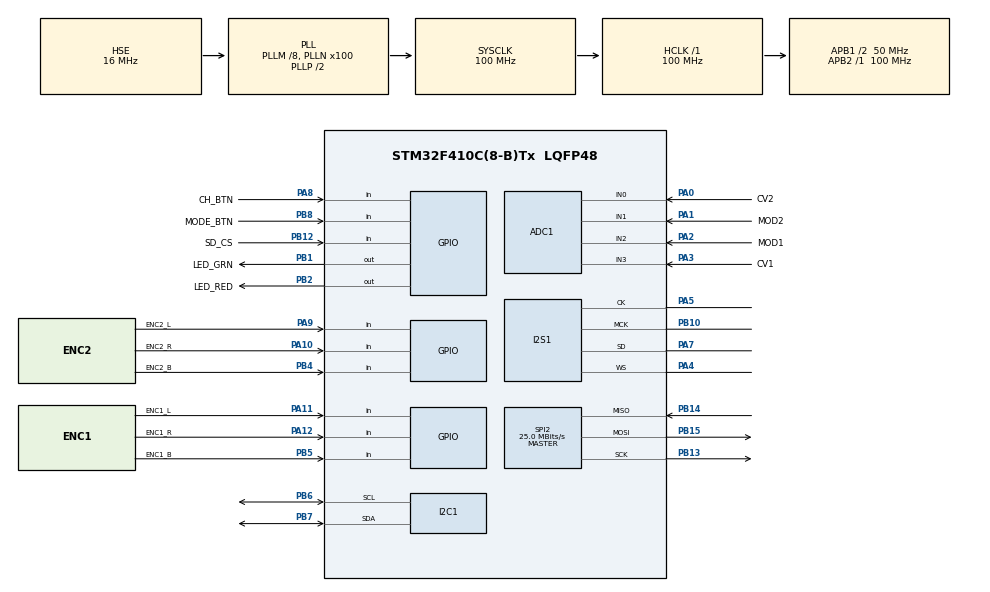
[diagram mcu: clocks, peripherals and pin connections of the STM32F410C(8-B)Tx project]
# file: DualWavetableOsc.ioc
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ADC1.Channel-1\#ChannelRegularConversion=ADC_CHANNEL_0
ADC1.Channel-2\#ChannelRegularConversion=ADC_CHANNEL_1
ADC1.Channel-3\#ChannelRegularConversion=ADC_CHANNEL_2
ADC1.Channel-4\#ChannelRegularConversion=ADC_CHANNEL_3
ADC1.NbrOfConversion=4
ADC1.NbrOfConversionFlag=1
ADC1.Rank-1\#ChannelRegularConversion=1
ADC1.Rank-2\#ChannelRegularConversion=2
ADC1.Rank-3\#ChannelRegularConversion=3
ADC1.Rank-4\#ChannelRegularConversion=4
ADC1.SamplingTime-1\#ChannelRegularConversion=ADC_SAMPLETIME_3CYCLES
ADC1.SamplingTime-2\#ChannelRegularConversion=ADC_SAMPLETIME_3CYCLES
ADC1.SamplingTime-3\#ChannelRegularConversion=ADC_SAMPLETIME_3CYCLES
ADC1.SamplingTime-4\#ChannelRegularConversion=ADC_SAMPLETIME_3CYCLES
ADC1.ScanConvMode=ENABLE
ADC1.master=1
Dma.ADC1.1.Direction=DMA_PERIPH_TO_MEMORY
Dma.ADC1.1.FIFOMode=DMA_FIFOMODE_DISABLE
Dma.ADC1.1.Instance=DMA2_Stream0
Dma.ADC1.1.MemDataAlignment=DMA_MDATAALIGN_WORD
Dma.ADC1.1.MemInc=DMA_MINC_ENABLE
Dma.ADC1.1.Mode=DMA_CIRCULAR
Dma.ADC1.1.PeriphDataAlignment=DMA_PDATAALIGN_WORD
Dma.ADC1.1.PeriphInc=DMA_PINC_DISABLE
Dma.ADC1.1.Priority=DMA_PRIORITY_LOW
Dma.Request0=SPI1_TX
Dma.Request1=ADC1
Dma.SPI1_TX.0.Direction=DMA_MEMORY_TO_PERIPH
Dma.SPI1_TX.0.FIFOMode=DMA_FIFOMODE_DISABLE
Dma.SPI1_TX.0.Instance=DMA2_Stream2
Dma.SPI1_TX.0.MemDataAlignment=DMA_MDATAALIGN_HALFWORD
Dma.SPI1_TX.0.MemInc=DMA_MINC_ENABLE
Dma.SPI1_TX.0.Mode=DMA_CIRCULAR
Dma.SPI1_TX.0.PeriphDataAlignment=DMA_PDATAALIGN_HALFWORD
Dma.SPI1_TX.0.PeriphInc=DMA_PINC_DISABLE
Dma.SPI1_TX.0.Priority=DMA_PRIORITY_VERY_HIGH
I2S1.AudioFreq=I2S_AUDIOFREQ_44K
I2S1.DataFormat=I2S_DATAFORMAT_16B_EXTENDED
I2S1.ErrorAudioFreq=-1.35 %
I2S1.FullDuplexMode=I2S_FULLDUPLEXMODE_DISABLE
I2S1.Instance=SPI$Index
I2S1.RealAudioFreq=43.402 KHz
I2S1.VirtualMode=I2S_MODE_MASTER
Mcu.Family=STM32F4
Mcu.Name=STM32F410C(8-B)Tx
Mcu.Package=LQFP48
NVIC.DMA2_Stream0_IRQn=true\:0\:0\:false\:false\:true\:false\:true\:true
NVIC.DMA2_Stream2_IRQn=true\:0\:0\:false\:false\:true\:false\:true\:true
NVIC.PriorityGroup=NVIC_PRIORITYGROUP_4
PA0-WKUP.GPIO_Label=CV2
PA0-WKUP.Signal=ADCx_IN0
PA1.GPIO_Label=MOD2
PA1.Signal=ADCx_IN1
PA10.GPIO_Label=ENC2_R
PA10.Signal=GPIO_Input
PA11.GPIO_Label=ENC1_L
PA11.Signal=GPIO_Input
PA12.GPIO_Label=ENC1_R
PA12.Signal=GPIO_Input
PA13.Mode=Trace_Asynchronous_SW
PA13.Signal=SYS_JTMS-SWDIO
PA14.Mode=Trace_Asynchronous_SW
PA14.Signal=SYS_JTCK-SWCLK
PA2.GPIO_Label=MOD1
PA2.Signal=ADCx_IN2
PA3.GPIO_Label=CV1
PA3.Signal=ADCx_IN3
PA4.Mode=Half_Duplex_Master
PA4.Signal=I2S1_WS
PA5.Mode=Half_Duplex_Master
PA5.Signal=I2S1_CK
PA7.Mode=Half_Duplex_Master
PA7.Signal=I2S1_SD
PA8.GPIO_Label=CH_BTN
PA8.Signal=GPIO_Input
PA9.GPIO_Label=ENC2_L
PA9.Signal=GPIO_Input
PB1.GPIO_Label=LED_GRN
PB1.Signal=GPIO_Output
PB10.Mode=Master_Clock_Activated
PB10.Signal=I2S1_MCK
PB12.GPIO_Label=SD_CS
PB12.Signal=GPIO_Input
PB13.Mode=Full_Duplex_Master
PB13.Signal=SPI2_SCK
PB14.Mode=Full_Duplex_Master
PB14.Signal=SPI2_MISO
PB15.Mode=Full_Duplex_Master
PB15.Signal=SPI2_MOSI
PB2.GPIO_Label=LED_RED
PB2.Signal=GPIO_Output
PB3.Mode=Trace_Asynchronous_SW
PB3.Signal=SYS_JTDO-SWO
PB4.GPIO_Label=ENC2_B
PB4.Signal=GPIO_Input
PB5.GPIO_Label=ENC1_B
PB5.Signal=GPIO_Input
PB6.Mode=I2C
PB6.Signal=I2C1_SCL
PB7.Mode=I2C
PB7.Signal=I2C1_SDA
PB8.GPIO_Label=MODE_BTN
PB8.Signal=GPIO_Input
PH0\ -\ OSC_IN.Mode=HSE-External-Oscillator
PH0\ -\ OSC_IN.Signal=RCC_OSC_IN
PH1\ -\ OSC_OUT.Mode=HSE-External-Oscillator
PH1\ -\ OSC_OUT.Signal=RCC_OSC_OUT
ProjectManager.HeapSize=0x200
ProjectManager.StackSize=0x400
ProjectManager.TargetToolchain=STM32CubeIDE
RCC.48MHZClocksFreq_Value=50000000
RCC.AHBFreq_Value=100000000
RCC.APB1CLKDivider=RCC_HCLK_DIV2
RCC.APB1Freq_Value=50000000
RCC.APB1TimFreq_Value=100000000
RCC.APB2Freq_Value=100000000
RCC.APB2TimFreq_Value=100000000
RCC.CortexFreq_Value=100000000
RCC.HCLKFreq_Value=100000000
RCC.HSE_VALUE=16000000
RCC.HSI_VALUE=16000000
RCC.LSE_VALUE=32768
RCC.PLLM=8
RCC.PLLN=100
RCC.PLLSourceVirtual=RCC_PLLSOURCE_HSE
RCC.SYSCLKFreq_VALUE=100000000
RCC.SYSCLKSource=RCC_SYSCLKSOURCE_PLLCLK
RCC.VCOOutputFreq_Value=200000000
SH.ADCx_IN0.0=ADC1_IN0,IN0
SH.ADCx_IN1.0=ADC1_IN1,IN1
SH.ADCx_IN2.0=ADC1_IN2,IN2
SH.ADCx_IN3.0=ADC1_IN3,IN3
SPI2.CalculateBaudRate=25.0 MBits/s
SPI2.Direction=SPI_DIRECTION_2LINES
SPI2.Mode=SPI_MODE_MASTER
SPI2.VirtualType=VM_MASTER
board=custom

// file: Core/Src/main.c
/* USER CODE BEGIN Header */
/**
  ******************************************************************************
  * @file           : main.c
  * @brief          : Main program body
  ******************************************************************************
  * @attention
  *
  * Copyright (c) 2024 STMicroelectronics.
  * All rights reserved.
  *
  * This software is licensed under terms that can be found in the LICENSE file
  * in the root directory of this software component.
  * If no LICENSE file comes with this software, it is provided AS-IS.
  *
  ******************************************************************************
  */
/* USER CODE END Header */
#include "main.h"

/* USER CODE BEGIN Includes */
#include <stdio.h>

#include "StatusLEDs.h"
/* USER CODE END Includes */

/* USER CODE BEGIN PD */

#define BUFFER_SIZE 128
#define FLOAT_TO_INT16 32768.0f

/* USER CODE END PD */

ADC_HandleTypeDef hadc1;
DMA_HandleTypeDef hdma_adc1;

I2C_HandleTypeDef hi2c1;

I2S_HandleTypeDef hi2s1;
DMA_HandleTypeDef hdma_spi1_tx;

SPI_HandleTypeDef hspi2;

/* USER CODE BEGIN PV */
int16_t dacData[BUFFER_SIZE];
static volatile int16_t* outBufPtr = &dacData[0];
uint8_t audioDataReadyFlag;

status_led_t leds;

//

/* USER CODE END PV */

void SystemClock_Config(void);
static void MX_GPIO_Init(void);
static void MX_DMA_Init(void);
static void MX_ADC1_Init(void);
static void MX_I2C1_Init(void);
static void MX_I2S1_Init(void);
static void MX_SPI2_Init(void);

/* USER CODE BEGIN 0 */
// I2S callbacks
// transmit is half complete
void HAL_I2S_TxHalfCpltCallback(I2S_HandleTypeDef *hi2s)
{
	outBufPtr = &dacData[0];
	audioDataReadyFlag = 1;
}

// transmit is complete
void HAL_I2S_TxCpltCallback(I2S_HandleTypeDef *hi2s)
{
	outBufPtr = &dacData[BUFFER_SIZE / 2];
	audioDataReadyFlag = 1;
}

// renders the next chunk of the audio buffers to give to the DMA
void processAudioBuffer()
{
	static float leftOut, rightOut;
	for(uint8_t i = 0; i < (BUFFER_SIZE / 2) - 1; i += 2){
		///TODO: logic to determine the value of the samples goes here
		dacData[i] = (int16_t)(leftOut * FLOAT_TO_INT16);
		dacData[i + 1] = (int16_t)(rightOut * FLOAT_TO_INT16);
	}
	audioDataReadyFlag = 0;

}

/* USER CODE END 0 */

int main(void)
{

  /* MCU Configuration--------------------------------------------------------*/

  /* Reset of all peripherals, Initializes the Flash interface and the Systick. */
  HAL_Init();

  /* Configure the system clock */
  SystemClock_Config();

  /* Initialize all configured peripherals */
  MX_GPIO_Init();
  MX_DMA_Init();
  MX_ADC1_Init();
  MX_I2C1_Init();
  MX_I2S1_Init();
  MX_SPI2_Init();
  /* USER CODE BEGIN 2 */
  // start the  I2S DMA stream
  HAL_StatusTypeDef result = HAL_I2S_Transmit_DMA(&hi2s1, (uint16_t*)dacData, BUFFER_SIZE);
  if(result != HAL_OK){
	  status_error(leds);
  }
  status_normal(leds);

  /* USER CODE END 2 */

  /* Infinite loop */
  /* USER CODE BEGIN WHILE */
  uint32_t now = 0;
  uint32_t prev = 0;
  while (1)
  {
	  if(audioDataReadyFlag){
		  processAudioBuffer();
	  }
	  now = HAL_GetTick();
	  if(now - prev > 5)
	  {
		  prev = now;
		  tick_status_led(leds, now);
	  }
    /* USER CODE END WHILE */

  }
}

//---------------------------------------------------------------------------------------------------
void SystemClock_Config(void)
{
  RCC_OscInitTypeDef RCC_OscInitStruct = {0};
  RCC_ClkInitTypeDef RCC_ClkInitStruct = {0};

  /** Configure the main internal regulator output voltage
  */
  __HAL_RCC_PWR_CLK_ENABLE();
  __HAL_PWR_VOLTAGESCALING_CONFIG(PWR_REGULATOR_VOLTAGE_SCALE1);

  /** Initializes the RCC Oscillators according to the specified parameters
  * in the RCC_OscInitTypeDef structure.
  */
  RCC_OscInitStruct.OscillatorType = RCC_OSCILLATORTYPE_HSE;
  RCC_OscInitStruct.HSEState = RCC_HSE_ON;
  RCC_OscInitStruct.PLL.PLLState = RCC_PLL_ON;
  RCC_OscInitStruct.PLL.PLLSource = RCC_PLLSOURCE_HSE;
  RCC_OscInitStruct.PLL.PLLM = 8;
  RCC_OscInitStruct.PLL.PLLN = 100;
  RCC_OscInitStruct.PLL.PLLP = RCC_PLLP_DIV2;
  RCC_OscInitStruct.PLL.PLLQ = 4;
  RCC_OscInitStruct.PLL.PLLR = 2;
  if (HAL_RCC_OscConfig(&RCC_OscInitStruct) != HAL_OK)
  {
    Error_Handler();
  }

  /** Initializes the CPU, AHB and APB buses clocks
  */
  RCC_ClkInitStruct.ClockType = RCC_CLOCKTYPE_HCLK|RCC_CLOCKTYPE_SYSCLK
                              |RCC_CLOCKTYPE_PCLK1|RCC_CLOCKTYPE_PCLK2;
  RCC_ClkInitStruct.SYSCLKSource = RCC_SYSCLKSOURCE_PLLCLK;
  RCC_ClkInitStruct.AHBCLKDivider = RCC_SYSCLK_DIV1;
  RCC_ClkInitStruct.APB1CLKDivider = RCC_HCLK_DIV2;
  RCC_ClkInitStruct.APB2CLKDivider = RCC_HCLK_DIV1;

  if (HAL_RCC_ClockConfig(&RCC_ClkInitStruct, FLASH_LATENCY_3) != HAL_OK)
  {
    Error_Handler();
  }
}

static void MX_ADC1_Init(void)
{

  ADC_ChannelConfTypeDef sConfig = {0};

  /** Configure the global features of the ADC (Clock, Resolution, Data Alignment and number of conversion)
  */
  hadc1.Instance = ADC1;
  hadc1.Init.ClockPrescaler = ADC_CLOCK_SYNC_PCLK_DIV4;
  hadc1.Init.Resolution = ADC_RESOLUTION_12B;
  hadc1.Init.ScanConvMode = ENABLE;
  hadc1.Init.ContinuousConvMode = DISABLE;
  hadc1.Init.DiscontinuousConvMode = DISABLE;
  hadc1.Init.ExternalTrigConvEdge = ADC_EXTERNALTRIGCONVEDGE_NONE;
  hadc1.Init.ExternalTrigConv = ADC_SOFTWARE_START;
  hadc1.Init.DataAlign = ADC_DATAALIGN_RIGHT;
  hadc1.Init.NbrOfConversion = 4;
  hadc1.Init.DMAContinuousRequests = DISABLE;
  hadc1.Init.EOCSelection = ADC_EOC_SINGLE_CONV;
  if (HAL_ADC_Init(&hadc1) != HAL_OK)
  {
    Error_Handler();
  }

  /** Configure for the selected ADC regular channel its corresponding rank in the sequencer and its sample time.
  */
  sConfig.Channel = ADC_CHANNEL_0;
  sConfig.Rank = 1;
  sConfig.SamplingTime = ADC_SAMPLETIME_3CYCLES;
  if (HAL_ADC_ConfigChannel(&hadc1, &sConfig) != HAL_OK)
  {
    Error_Handler();
  }

  /** Configure for the selected ADC regular channel its corresponding rank in the sequencer and its sample time.
  */
  sConfig.Channel = ADC_CHANNEL_1;
  sConfig.Rank = 2;
  if (HAL_ADC_ConfigChannel(&hadc1, &sConfig) != HAL_OK)
  {
    Error_Handler();
  }

  /** Configure for the selected ADC regular channel its corresponding rank in the sequencer and its sample time.
  */
  sConfig.Channel = ADC_CHANNEL_2;
  sConfig.Rank = 3;
  if (HAL_ADC_ConfigChannel(&hadc1, &sConfig) != HAL_OK)
  {
    Error_Handler();
  }

  /** Configure for the selected ADC regular channel its corresponding rank in the sequencer and its sample time.
  */
  sConfig.Channel = ADC_CHANNEL_3;
  sConfig.Rank = 4;
  if (HAL_ADC_ConfigChannel(&hadc1, &sConfig) != HAL_OK)
  {
    Error_Handler();
  }

}

static void MX_I2C1_Init(void)
{

  hi2c1.Instance = I2C1;
  hi2c1.Init.ClockSpeed = 100000;
  hi2c1.Init.DutyCycle = I2C_DUTYCYCLE_2;
  hi2c1.Init.OwnAddress1 = 0;
  hi2c1.Init.AddressingMode = I2C_ADDRESSINGMODE_7BIT;
  hi2c1.Init.DualAddressMode = I2C_DUALADDRESS_DISABLE;
  hi2c1.Init.OwnAddress2 = 0;
  hi2c1.Init.GeneralCallMode = I2C_GENERALCALL_DISABLE;
  hi2c1.Init.NoStretchMode = I2C_NOSTRETCH_DISABLE;
  if (HAL_I2C_Init(&hi2c1) != HAL_OK)
  {
    Error_Handler();
  }

}

static void MX_I2S1_Init(void)
{

  hi2s1.Instance = SPI1;
  hi2s1.Init.Mode = I2S_MODE_MASTER_TX;
  hi2s1.Init.Standard = I2S_STANDARD_PHILIPS;
  hi2s1.Init.DataFormat = I2S_DATAFORMAT_16B_EXTENDED;
  hi2s1.Init.MCLKOutput = I2S_MCLKOUTPUT_ENABLE;
  hi2s1.Init.AudioFreq = I2S_AUDIOFREQ_44K;
  hi2s1.Init.CPOL = I2S_CPOL_LOW;
  hi2s1.Init.ClockSource = I2S_CLOCK_PLLR;
  hi2s1.Init.FullDuplexMode = I2S_FULLDUPLEXMODE_DISABLE;
  if (HAL_I2S_Init(&hi2s1) != HAL_OK)
  {
    Error_Handler();
  }

}

static void MX_SPI2_Init(void)
{

  /* SPI2 parameter configuration*/
  hspi2.Instance = SPI2;
  hspi2.Init.Mode = SPI_MODE_MASTER;
  hspi2.Init.Direction = SPI_DIRECTION_2LINES;
  hspi2.Init.DataSize = SPI_DATASIZE_8BIT;
  hspi2.Init.CLKPolarity = SPI_POLARITY_LOW;
  hspi2.Init.CLKPhase = SPI_PHASE_1EDGE;
  hspi2.Init.NSS = SPI_NSS_SOFT;
  hspi2.Init.BaudRatePrescaler = SPI_BAUDRATEPRESCALER_2;
  hspi2.Init.FirstBit = SPI_FIRSTBIT_MSB;
  hspi2.Init.TIMode = SPI_TIMODE_DISABLE;
  hspi2.Init.CRCCalculation = SPI_CRCCALCULATION_DISABLE;
  hspi2.Init.CRCPolynomial = 15;
  if (HAL_SPI_Init(&hspi2) != HAL_OK)
  {
    Error_Handler();
  }

}

static void MX_DMA_Init(void)
{

  /* DMA controller clock enable */
  __HAL_RCC_DMA2_CLK_ENABLE();

  /* DMA interrupt init */
  /* DMA2_Stream0_IRQn interrupt configuration */
  HAL_NVIC_SetPriority(DMA2_Stream0_IRQn, 0, 0);
  HAL_NVIC_EnableIRQ(DMA2_Stream0_IRQn);
  /* DMA2_Stream2_IRQn interrupt configuration */
  HAL_NVIC_SetPriority(DMA2_Stream2_IRQn, 0, 0);
  HAL_NVIC_EnableIRQ(DMA2_Stream2_IRQn);

}

static void MX_GPIO_Init(void)
{
  GPIO_InitTypeDef GPIO_InitStruct = {0};

  /* GPIO Ports Clock Enable */
  __HAL_RCC_GPIOH_CLK_ENABLE();
  __HAL_RCC_GPIOA_CLK_ENABLE();
  __HAL_RCC_GPIOB_CLK_ENABLE();

  /*Configure GPIO pin Output Level */
  HAL_GPIO_WritePin(GPIOB, LED_GRN_Pin|LED_RED_Pin, GPIO_PIN_RESET);

  /*Configure GPIO pins : LED_GRN_Pin LED_RED_Pin */
  GPIO_InitStruct.Pin = LED_GRN_Pin|LED_RED_Pin;
  GPIO_InitStruct.Mode = GPIO_MODE_OUTPUT_PP;
  GPIO_InitStruct.Pull = GPIO_NOPULL;
  GPIO_InitStruct.Speed = GPIO_SPEED_FREQ_LOW;
  HAL_GPIO_Init(GPIOB, &GPIO_InitStruct);

  /*Configure GPIO pins : SD_CS_Pin ENC2_B_Pin ENC1_B_Pin MODE_BTN_Pin */
  GPIO_InitStruct.Pin = SD_CS_Pin|ENC2_B_Pin|ENC1_B_Pin|MODE_BTN_Pin;
  GPIO_InitStruct.Mode = GPIO_MODE_INPUT;
  GPIO_InitStruct.Pull = GPIO_NOPULL;
  HAL_GPIO_Init(GPIOB, &GPIO_InitStruct);

  /*Configure GPIO pins : CH_BTN_Pin ENC2_L_Pin ENC2_R_Pin ENC1_L_Pin
                           ENC1_R_Pin */
  GPIO_InitStruct.Pin = CH_BTN_Pin|ENC2_L_Pin|ENC2_R_Pin|ENC1_L_Pin
                          |ENC1_R_Pin;
  GPIO_InitStruct.Mode = GPIO_MODE_INPUT;
  GPIO_InitStruct.Pull = GPIO_NOPULL;
  HAL_GPIO_Init(GPIOA, &GPIO_InitStruct);

/* USER CODE BEGIN MX_GPIO_Init_2 */
  // initialize the LEDs
  leds = create_status_led();
  init_status_led(leds, GPIOB, LED_RED_Pin, LED_GRN_Pin);
/* USER CODE END MX_GPIO_Init_2 */
}

/* USER CODE BEGIN 4 */

int _write(int file, char *ptr, int len)
{
  (void)file;
  int DataIdx;

  for (DataIdx = 0; DataIdx < len; DataIdx++)
  {
    ITM_SendChar(*ptr++);
  }
  return len;
}

/* USER CODE END 4 */

void Error_Handler(void)
{
  __disable_irq();
  while (1)
  {
  }
}
